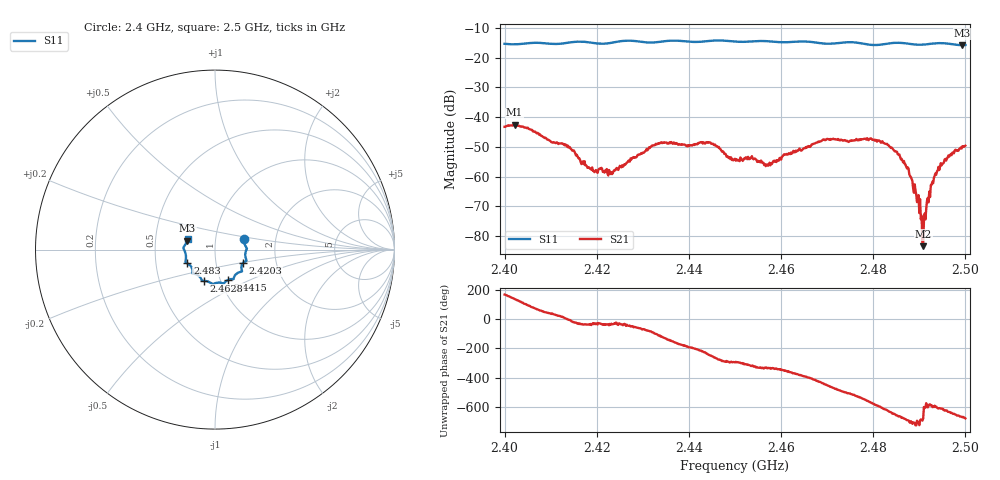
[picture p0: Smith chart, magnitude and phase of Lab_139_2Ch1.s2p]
# Hz S RI R 50
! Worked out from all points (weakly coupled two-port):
!   601 points, 2.4 GHz to 2.5 GHz, reference 50 ohm
!   highest |S21| = -42.54 dB at 2.4022 GHz (marker M1); lowest = -83.3 dB at 2.4908 GHz (marker M2)
!   lowest |S11| = -15.8 dB at 2.4993 GHz (marker M3), VSWR 1.39, Z = 36.4 + j3.69 ohm
!   |S11| at or under -10 dB: start of sweep to end of sweep
!   S12 and S22 are empty: the file has one direction only
!   S11 on the Smith chart (normalised r, x): 2.4 GHz: 1.38, +0.16; 2.4203 GHz: 1.35, -0.21; 2.4415 GHz: 1.09, -0.38; 2.4628 GHz: 0.83, -0.30; 2.483 GHz: 0.73, -0.11; 2.5 GHz: 0.73, +0.09
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2.4e9  0.1618 0.0566  -0.00668 0.0017  0 0  0 0
2.402167e9  0.1643 0.0338  -0.00536 0.00519  0 0  0 0
2.413667e9  0.1717 -0.0481  0.00334 -0.000228  0 0  0 0
2.416667e9  0.1756 -0.062  0.00132 -0.000961  0 0  0 0
2.420333e9  0.1559 -0.0746  0.00114 -0.000619  0 0  0 0
2.4235e9  0.1471 -0.1035  0.00093 -0.000692  0 0  0 0
2.433333e9  0.1083 -0.1482  -0.00136 -0.00339  0 0  0 0
2.4415e9  0.0732 -0.1689  -0.00316 0.00154  0 0  0 0
2.444833e9  0.0524 -0.1856  -0.00113 0.0034  0 0  0 0
2.45e9  0.0296 -0.1845  0.000878 0.0018  0 0  0 0
2.457167e9  -0.0187 -0.1883  0.00138 0.000641  0 0  0 0
2.462833e9  -0.0624 -0.1742  0.00261 -0.000452  0 0  0 0
2.466667e9  -0.0751 -0.1675  0.0024 -0.00255  0 0  0 0
2.471167e9  -0.1032 -0.1382  -0.00136 -0.00407  0 0  0 0
2.483e9  -0.1541 -0.0765  -0.000443 0.00354  0 0  0 0
2.483333e9  -0.1563 -0.0754  -6.04e-05 0.00339  0 0  0 0
2.487167e9  -0.1632 -0.0597  0.00123 0.000799  0 0  0 0
2.489667e9  -0.1619 -0.0336  0.000379 0.000108  0 0  0 0
2.490833e9  -0.1649 -0.0195  5.17e-05 4.42e-05  0 0  0 0
2.493667e9  -0.175 0.00522  -0.000577 0.00091  0 0  0 0
2.499333e9  -0.1551 0.0493  0.00204 0.00251  0 0  0 0
2.5e9  -0.153 0.0579  0.00247 0.00222  0 0  0 0
